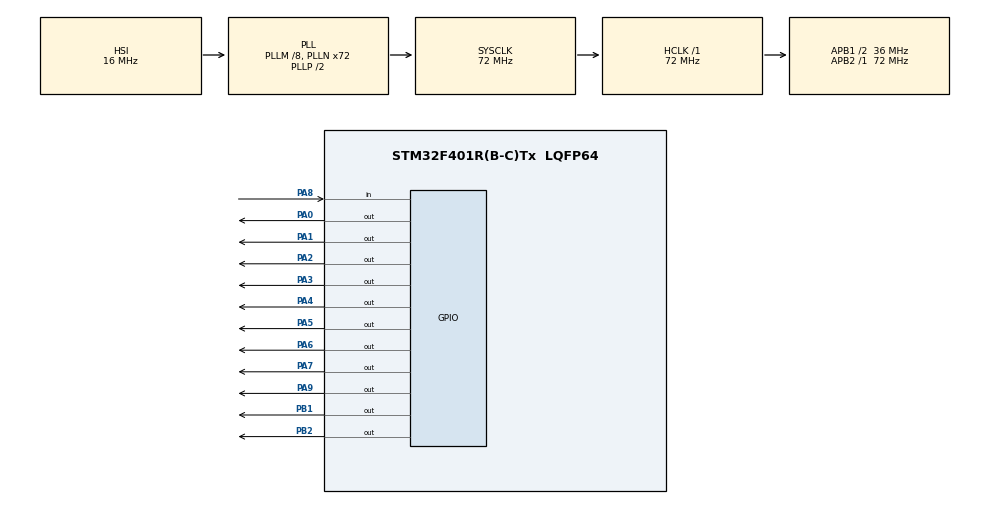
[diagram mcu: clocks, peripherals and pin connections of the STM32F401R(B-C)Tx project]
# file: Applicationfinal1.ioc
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Mcu.Family=STM32F4
Mcu.Name=STM32F401R(B-C)Tx
Mcu.Package=LQFP64
NVIC.PriorityGroup=NVIC_PRIORITYGROUP_4
PA0-WKUP.Signal=GPIO_Output
PA1.Signal=GPIO_Output
PA13.Mode=Serial_Wire
PA13.Signal=SYS_JTMS-SWDIO
PA14.Mode=Serial_Wire
PA14.Signal=SYS_JTCK-SWCLK
PA2.Signal=GPIO_Output
PA3.Signal=GPIO_Output
PA4.Signal=GPIO_Output
PA5.Signal=GPIO_Output
PA6.Signal=GPIO_Output
PA7.Signal=GPIO_Output
PA8.Signal=GPIO_Input
PA9.Signal=GPIO_Output
PB1.Signal=GPIO_Output
PB2.Signal=GPIO_Output
PH0\ -\ OSC_IN.Mode=HSE-External-Oscillator
PH0\ -\ OSC_IN.Signal=RCC_OSC_IN
PH1\ -\ OSC_OUT.Mode=HSE-External-Oscillator
PH1\ -\ OSC_OUT.Signal=RCC_OSC_OUT
ProjectManager.HeapSize=0x200
ProjectManager.StackSize=0x400
ProjectManager.TargetToolchain=STM32CubeIDE
RCC.48MHZClocksFreq_Value=36000000
RCC.AHBFreq_Value=72000000
RCC.APB1CLKDivider=RCC_HCLK_DIV2
RCC.APB1Freq_Value=36000000
RCC.APB1TimFreq_Value=72000000
RCC.APB2Freq_Value=72000000
RCC.APB2TimFreq_Value=72000000
RCC.CortexFreq_Value=72000000
RCC.HCLKFreq_Value=72000000
RCC.HSE_VALUE=25000000
RCC.HSI_VALUE=16000000
RCC.LSE_VALUE=32768
RCC.PLLM=8
RCC.PLLN=72
RCC.SYSCLKFreq_VALUE=72000000
RCC.SYSCLKSource=RCC_SYSCLKSOURCE_PLLCLK
RCC.VCOOutputFreq_Value=144000000
TIM1.Prescaler=71
VP_TIM1_VS_ClockSourceINT.Mode=Internal
board=custom

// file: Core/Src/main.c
/* USER CODE BEGIN Header */
/**
  **************************
  * @file           : main.c
  * @brief          : Main program body
  **************************
  * @attention
  *
  * Copyright (c) 2024 STMicroelectronics.
  * All rights reserved.
  *
  * This software is licensed under terms that can be found in the LICENSE file
  * in the root directory of this software component.
  * If no LICENSE file comes with this software, it is provided AS-IS.
  *
  **************************
  */
/* USER CODE END Header */
#include "main.h"

TIM_HandleTypeDef htim1;

/* USER CODE BEGIN PV */
/* USER CODE BEGIN PV */
#define TRIG_PIN                GPIO_PIN_9
#define TRIG_PORT               GPIOA

#define ECHO_PIN                GPIO_PIN_8
#define ECHO_PORT               GPIOA

#define MOTOR1_PIN              GPIO_PIN_0
#define MOTOR1_PORT             GPIOA

#define MOTOR2_PIN              GPIO_PIN_1
#define MOTOR2_PORT             GPIOA

#define MOTOR3_PIN              GPIO_PIN_2
#define MOTOR3_PORT             GPIOA

#define MOTOR4_PIN              GPIO_PIN_3
#define MOTOR4_PORT             GPIOA

#define LED_PIN                 GPIO_PIN_1
#define LED_PORT                GPIOB

#define BUZZER_PIN              GPIO_PIN_2
#define BUZZER_PORT             GPIOB

uint32_t pMillis;
uint32_t Value1 = 0;
uint32_t Value2 = 0;
uint16_t Distance  = 0;  // cm
/* USER CODE END PV */

void SystemClock_Config(void);
static void MX_GPIO_Init(void);
static void MX_TIM1_Init(void);

int main(void)
{

  /* MCU Configuration--------------------------------------------------------*/

  /* Reset of all peripherals, Initializes the Flash interface and the Systick. */
  HAL_Init();

  /* Configure the system clock */
  SystemClock_Config();

  /* Initialize all configured peripherals */
  MX_GPIO_Init();
  MX_TIM1_Init();
  /* USER CODE BEGIN 2 */
  /* USER CODE BEGIN 2 */
  HAL_TIM_Base_Start(&htim1);
  HAL_GPIO_WritePin(TRIG_PORT, TRIG_PIN, GPIO_PIN_RESET);  // pull the TRIG pin low
  /* USER CODE END 2 */

  /* Infinite loop */
  /* USER CODE BEGIN WHILE */
 // HAL_GPIO_WritePin(LED_PORT, LED_PIN, GPIO_PIN_SET);               // turn the LED off

  while (1)
  {
    HAL_GPIO_WritePin(TRIG_PORT, TRIG_PIN, GPIO_PIN_SET);  // pull the TRIG pin HIGH
    __HAL_TIM_SET_COUNTER(&htim1, 0);
    while (__HAL_TIM_GET_COUNTER (&htim1) < 10);  // wait for 10 us
    HAL_GPIO_WritePin(TRIG_PORT, TRIG_PIN, GPIO_PIN_RESET);  // pull the TRIG pin low

    pMillis = HAL_GetTick(); // used this to avoid infinite while loop  (for timeout)
    // wait for the echo pin to go high
    while (!(HAL_GPIO_ReadPin (ECHO_PORT, ECHO_PIN)) && pMillis + 10 >  HAL_GetTick());
    Value1 = __HAL_TIM_GET_COUNTER (&htim1);

    pMillis = HAL_GetTick(); // used this to avoid infinite while loop (for timeout)
    // wait for the echo pin to go low
    while ((HAL_GPIO_ReadPin (ECHO_PORT, ECHO_PIN)) && pMillis + 50 > HAL_GetTick());
    Value2 = __HAL_TIM_GET_COUNTER (&htim1);

    Distance = (Value2-Value1)* 0.034/2;

    if (Distance < 10 )
    {
        HAL_GPIO_WritePin(BUZZER_PORT, BUZZER_PIN , GPIO_PIN_SET);          // Sound the buzzer
        HAL_GPIO_WritePin(LED_PORT, LED_PIN, GPIO_PIN_RESET);               // turn the LED off

        HAL_Delay(100);

        HAL_GPIO_WritePin(MOTOR1_PORT, MOTOR1_PIN, GPIO_PIN_RESET);         // moving right
        HAL_GPIO_WritePin(MOTOR2_PORT, MOTOR2_PIN, GPIO_PIN_SET);
        HAL_GPIO_WritePin(MOTOR3_PORT, MOTOR3_PIN, GPIO_PIN_SET);
        HAL_GPIO_WritePin(MOTOR4_PORT, MOTOR4_PIN, GPIO_PIN_RESET);
    }
    else
    {
        HAL_GPIO_WritePin(LED_PORT, LED_PIN, GPIO_PIN_SET);  // pull the TRIG pin low
        HAL_GPIO_WritePin(BUZZER_PORT, BUZZER_PIN , GPIO_PIN_RESET);  // turn the buzzer off

        HAL_GPIO_WritePin(MOTOR1_PORT, MOTOR1_PIN, GPIO_PIN_SET);  // turn the Motors on
        HAL_GPIO_WritePin(MOTOR2_PORT, MOTOR2_PIN, GPIO_PIN_RESET);
        HAL_GPIO_WritePin(MOTOR3_PORT, MOTOR3_PIN, GPIO_PIN_SET);
        HAL_GPIO_WritePin(MOTOR4_PORT, MOTOR4_PIN, GPIO_PIN_RESET);
    }
    HAL_Delay(50);
    /* USER CODE END WHILE */

  }
}

void SystemClock_Config(void)
{
  RCC_OscInitTypeDef RCC_OscInitStruct = {0};
  RCC_ClkInitTypeDef RCC_ClkInitStruct = {0};

  /** Configure the main internal regulator output voltage
  */
  __HAL_RCC_PWR_CLK_ENABLE();
  __HAL_PWR_VOLTAGESCALING_CONFIG(PWR_REGULATOR_VOLTAGE_SCALE2);

  /** Initializes the RCC Oscillators according to the specified parameters
  * in the RCC_OscInitTypeDef structure.
  */
  RCC_OscInitStruct.OscillatorType = RCC_OSCILLATORTYPE_HSI;
  RCC_OscInitStruct.HSIState = RCC_HSI_ON;
  RCC_OscInitStruct.HSICalibrationValue = RCC_HSICALIBRATION_DEFAULT;
  RCC_OscInitStruct.PLL.PLLState = RCC_PLL_ON;
  RCC_OscInitStruct.PLL.PLLSource = RCC_PLLSOURCE_HSI;
  RCC_OscInitStruct.PLL.PLLM = 8;
  RCC_OscInitStruct.PLL.PLLN = 72;
  RCC_OscInitStruct.PLL.PLLP = RCC_PLLP_DIV2;
  RCC_OscInitStruct.PLL.PLLQ = 4;
  if (HAL_RCC_OscConfig(&RCC_OscInitStruct) != HAL_OK)
  {
    Error_Handler();
  }

  /** Initializes the CPU, AHB and APB buses clocks
  */
  RCC_ClkInitStruct.ClockType = RCC_CLOCKTYPE_HCLK|RCC_CLOCKTYPE_SYSCLK
                              |RCC_CLOCKTYPE_PCLK1|RCC_CLOCKTYPE_PCLK2;
  RCC_ClkInitStruct.SYSCLKSource = RCC_SYSCLKSOURCE_PLLCLK;
  RCC_ClkInitStruct.AHBCLKDivider = RCC_SYSCLK_DIV1;
  RCC_ClkInitStruct.APB1CLKDivider = RCC_HCLK_DIV2;
  RCC_ClkInitStruct.APB2CLKDivider = RCC_HCLK_DIV1;

  if (HAL_RCC_ClockConfig(&RCC_ClkInitStruct, FLASH_LATENCY_2) != HAL_OK)
  {
    Error_Handler();
  }
}

static void MX_TIM1_Init(void)
{

  TIM_ClockConfigTypeDef sClockSourceConfig = {0};
  TIM_MasterConfigTypeDef sMasterConfig = {0};

  htim1.Instance = TIM1;
  htim1.Init.Prescaler = 71;
  htim1.Init.CounterMode = TIM_COUNTERMODE_UP;
  htim1.Init.Period = 65535;
  htim1.Init.ClockDivision = TIM_CLOCKDIVISION_DIV1;
  htim1.Init.RepetitionCounter = 0;
  htim1.Init.AutoReloadPreload = TIM_AUTORELOAD_PRELOAD_DISABLE;
  if (HAL_TIM_Base_Init(&htim1) != HAL_OK)
  {
    Error_Handler();
  }
  sClockSourceConfig.ClockSource = TIM_CLOCKSOURCE_INTERNAL;
  if (HAL_TIM_ConfigClockSource(&htim1, &sClockSourceConfig) != HAL_OK)
  {
    Error_Handler();
  }
  sMasterConfig.MasterOutputTrigger = TIM_TRGO_RESET;
  sMasterConfig.MasterSlaveMode = TIM_MASTERSLAVEMODE_DISABLE;
  if (HAL_TIMEx_MasterConfigSynchronization(&htim1, &sMasterConfig) != HAL_OK)
  {
    Error_Handler();
  }

}

static void MX_GPIO_Init(void)
{
  GPIO_InitTypeDef GPIO_InitStruct = {0};

  /* GPIO Ports Clock Enable */
  __HAL_RCC_GPIOH_CLK_ENABLE();
  __HAL_RCC_GPIOA_CLK_ENABLE();
  __HAL_RCC_GPIOB_CLK_ENABLE();

  /*Configure GPIO pin Output Level */
  HAL_GPIO_WritePin(GPIOA, GPIO_PIN_0|GPIO_PIN_1|GPIO_PIN_2|GPIO_PIN_3
                          |GPIO_PIN_4|GPIO_PIN_5|GPIO_PIN_6|GPIO_PIN_7
                          |GPIO_PIN_9, GPIO_PIN_RESET);

  /*Configure GPIO pin Output Level */
  HAL_GPIO_WritePin(GPIOB, GPIO_PIN_1|GPIO_PIN_2, GPIO_PIN_RESET);

  /*Configure GPIO pins : PA0 PA1 PA2 PA3
                           PA4 PA5 PA6 PA7
                           PA9 */
  GPIO_InitStruct.Pin = GPIO_PIN_0|GPIO_PIN_1|GPIO_PIN_2|GPIO_PIN_3
                          |GPIO_PIN_4|GPIO_PIN_5|GPIO_PIN_6|GPIO_PIN_7
                          |GPIO_PIN_9;
  GPIO_InitStruct.Mode = GPIO_MODE_OUTPUT_PP;
  GPIO_InitStruct.Pull = GPIO_NOPULL;
  GPIO_InitStruct.Speed = GPIO_SPEED_FREQ_LOW;
  HAL_GPIO_Init(GPIOA, &GPIO_InitStruct);

  /*Configure GPIO pins : PB1 PB2 */
  GPIO_InitStruct.Pin = GPIO_PIN_1|GPIO_PIN_2;
  GPIO_InitStruct.Mode = GPIO_MODE_OUTPUT_PP;
  GPIO_InitStruct.Pull = GPIO_NOPULL;
  GPIO_InitStruct.Speed = GPIO_SPEED_FREQ_LOW;
  HAL_GPIO_Init(GPIOB, &GPIO_InitStruct);

  /*Configure GPIO pin : PA8 */
  GPIO_InitStruct.Pin = GPIO_PIN_8;
  GPIO_InitStruct.Mode = GPIO_MODE_INPUT;
  GPIO_InitStruct.Pull = GPIO_NOPULL;
  HAL_GPIO_Init(GPIOA, &GPIO_InitStruct);

}

void Error_Handler(void)
{
  __disable_irq();
  while (1)
  {
  }
}
